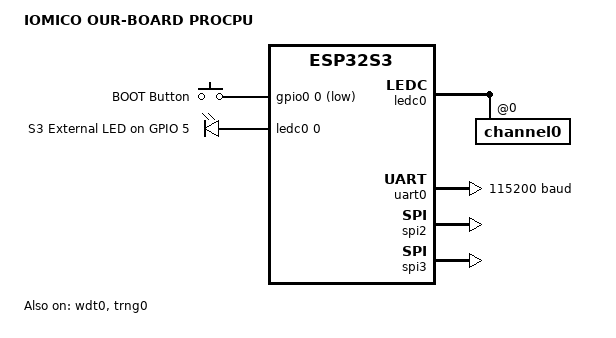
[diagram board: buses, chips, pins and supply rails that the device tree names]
/dts-v1/;

#include <espressif/esp32s3/esp32s3_wroom_n8.dtsi>
#include <zephyr/dt-bindings/input/input-event-codes.h>
#include <zephyr/dt-bindings/input/esp32-touch-sensor-input.h>
#include <zephyr/dt-bindings/pwm/pwm.h>
#include <espressif/partitions_0x0_amp.dtsi>
#include "my_board-pinctrl.dtsi"

/ {
	model = "IOMICO OUR-BOARD PROCPU";
	compatible = "espressif,esp32s3";
	
	aliases {
		pwm-led0 = &pwm_led_0;
	};
	
	chosen {
		zephyr,sram = &sram1;
		zephyr,console = &uart0;
		zephyr,shell-uart = &uart0;
		zephyr,flash = &flash0;
		zephyr,code-partition = &slot0_partition;
	};
	
	buttons {
		compatible = "gpio-keys";
		
		button0: button_0 {
			gpios = <&gpio0 0 (GPIO_PULL_UP | GPIO_ACTIVE_LOW)>;
			label = "BOOT Button";
			zephyr,code = <INPUT_KEY_0>;
		};
	};
	
	pwmleds {
		compatible = "pwm-leds";
		pwm_led_0: pwm_led_0 {
			pwms = <&ledc0 0 5000 PWM_POLARITY_NORMAL>;
			label = "S3 External LED on GPIO 5";
		};
	};
};


&ledc0 {
	pinctrl-0 = <&ledc0_default>;
	pinctrl-names = "default";
	status = "okay";
	#address-cells = <1>;
	#size-cells = <0>;
	
	channel0@0 {
		reg = <0>;
		timer = <0>;
	};
};

&uart0 {
	status = "okay";
	current-speed = <115200>;
	pinctrl-0 = <&uart0_default>;
	pinctrl-names = "default";
};

&gpio0 {
	status = "okay";
};

&gpio1 {
	status = "okay";
};

&spi2 {
	#address-cells = <1>;
	#size-cells = <0>;
	status = "okay";
	pinctrl-0 = <&spim2_default>;
	pinctrl-names = "default";
};

&spi3 {
	#address-cells = <1>;
	#size-cells = <0>;
	status = "okay";
	pinctrl-0 = <&spim3_default>;
	pinctrl-names = "default";
};

&wdt0 {
	status = "okay";
};

&trng0 {
	status = "okay";
};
